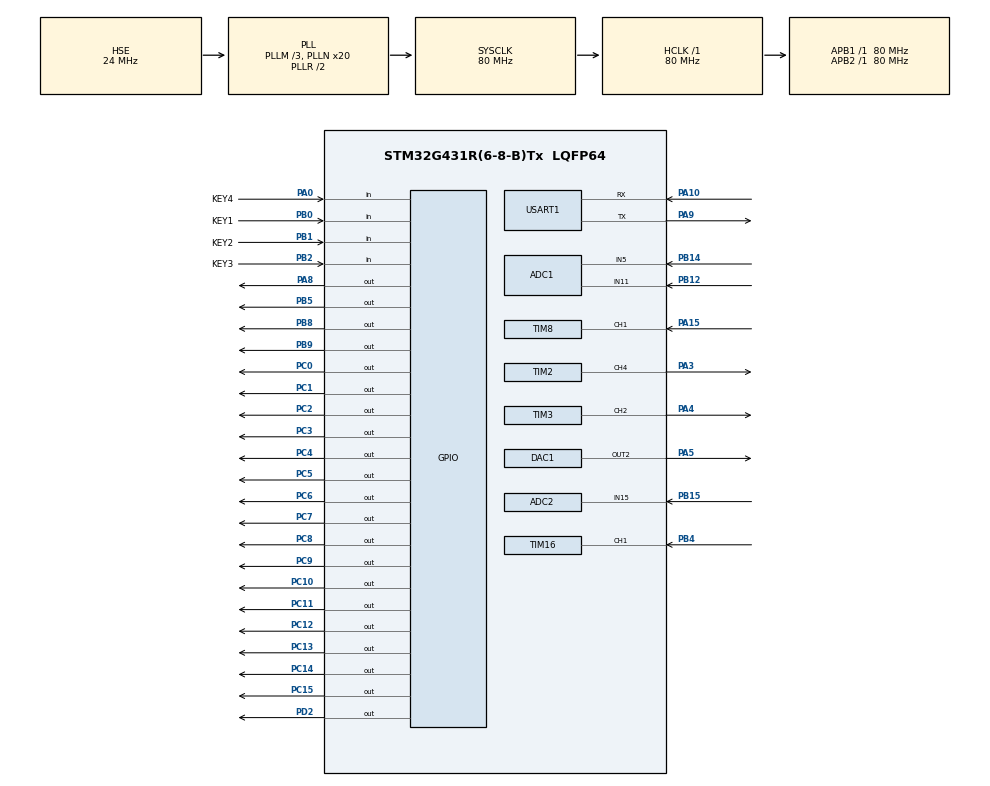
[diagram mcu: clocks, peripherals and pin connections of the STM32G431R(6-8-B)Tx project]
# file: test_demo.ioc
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ADC1.Channel-0\#ChannelRegularConversion=ADC_CHANNEL_5
ADC1.Channel-2\#ChannelRegularConversion=ADC_CHANNEL_11
ADC1.NbrOfConversion=2
ADC1.NbrOfConversionFlag=1
ADC1.OffsetNumber-0\#ChannelRegularConversion=ADC_OFFSET_NONE
ADC1.OffsetNumber-2\#ChannelRegularConversion=ADC_OFFSET_NONE
ADC1.OversamplingMode=DISABLE
ADC1.Rank-0\#ChannelRegularConversion=1
ADC1.Rank-2\#ChannelRegularConversion=2
ADC1.SamplingTime-0\#ChannelRegularConversion=ADC_SAMPLETIME_247CYCLES_5
ADC1.SamplingTime-2\#ChannelRegularConversion=ADC_SAMPLETIME_247CYCLES_5
ADC1.master=1
ADC2.Channel-0\#ChannelRegularConversion=ADC_CHANNEL_15
ADC2.NbrOfConversionFlag=1
ADC2.OffsetNumber-0\#ChannelRegularConversion=ADC_OFFSET_NONE
ADC2.Rank-0\#ChannelRegularConversion=1
ADC2.SamplingTime-0\#ChannelRegularConversion=ADC_SAMPLETIME_24CYCLES_5
DAC1.DAC_Channel-DAC_OUT2=DAC_CHANNEL_2
Mcu.Family=STM32G4
Mcu.Name=STM32G431R(6-8-B)Tx
Mcu.Package=LQFP64
NVIC.PriorityGroup=NVIC_PRIORITYGROUP_4
NVIC.TIM1_UP_TIM16_IRQn=true\:0\:0\:false\:false\:true\:true\:true\:true
NVIC.TIM7_IRQn=true\:0\:0\:false\:false\:true\:true\:true\:true
NVIC.TIM8_CC_IRQn=true\:0\:0\:false\:false\:true\:true\:true\:true
NVIC.USART1_IRQn=true\:0\:0\:false\:false\:true\:true\:true\:true
PA0.GPIO_Label=KEY4
PA0.Signal=GPIO_Input
PA10.Mode=Asynchronous
PA10.Signal=USART1_RX
PA15.Signal=S_TIM8_CH1
PA3.Signal=S_TIM2_CH4
PA4.Signal=S_TIM3_CH2
PA5.Signal=COMP_DAC12_group
PA8.Signal=GPIO_Output
PA9.Mode=Asynchronous
PA9.Signal=USART1_TX
PB0.GPIO_Label=KEY1
PB0.Signal=GPIO_Input
PB1.GPIO_Label=KEY2
PB1.Signal=GPIO_Input
PB12.Mode=IN11-Single-Ended
PB12.Signal=ADC1_IN11
PB14.Mode=IN5-Single-Ended
PB14.Signal=ADC1_IN5
PB15.Mode=IN15-Single-Ended
PB15.Signal=ADC2_IN15
PB2.GPIO_Label=KEY3
PB2.Signal=GPIO_Input
PB4.Signal=S_TIM16_CH1
PB5.Signal=GPIO_Output
PB8-BOOT0.Signal=GPIO_Output
PB9.Signal=GPIO_Output
PC0.Signal=GPIO_Output
PC1.Signal=GPIO_Output
PC10.Signal=GPIO_Output
PC11.Signal=GPIO_Output
PC12.Signal=GPIO_Output
PC13.Signal=GPIO_Output
PC14-OSC32_IN.Signal=GPIO_Output
PC15-OSC32_OUT.Signal=GPIO_Output
PC2.Signal=GPIO_Output
PC3.Signal=GPIO_Output
PC4.Signal=GPIO_Output
PC5.Signal=GPIO_Output
PC6.Signal=GPIO_Output
PC7.Signal=GPIO_Output
PC8.Signal=GPIO_Output
PC9.Signal=GPIO_Output
PD2.Signal=GPIO_Output
PF0-OSC_IN.Mode=HSE-External-Oscillator
PF0-OSC_IN.Signal=RCC_OSC_IN
PF1-OSC_OUT.Mode=HSE-External-Oscillator
PF1-OSC_OUT.Signal=RCC_OSC_OUT
ProjectManager.HeapSize=0x200
ProjectManager.StackSize=0x400
ProjectManager.TargetToolchain=MDK-ARM V5
RCC.ADC12Freq_Value=80000000
RCC.AHBFreq_Value=80000000
RCC.APB1Freq_Value=80000000
RCC.APB1TimFreq_Value=80000000
RCC.APB2Freq_Value=80000000
RCC.APB2TimFreq_Value=80000000
RCC.CortexFreq_Value=80000000
RCC.EXTERNAL_CLOCK_VALUE=12288000
RCC.HCLKFreq_Value=80000000
RCC.HSE_VALUE=24000000
RCC.HSI48_VALUE=48000000
RCC.HSI_VALUE=16000000
RCC.LSE_VALUE=32768
RCC.PLLM=RCC_PLLM_DIV3
RCC.PLLN=20
RCC.PLLSourceVirtual=RCC_PLLSOURCE_HSE
RCC.SYSCLKFreq_VALUE=80000000
RCC.SYSCLKSource=RCC_SYSCLKSOURCE_PLLCLK
RCC.USBFreq_Value=80000000
RCC.VCOOutputFreq_Value=160000000
RTC.AsynchPrediv=31
RTC.Date=24
RTC.Hours=11
RTC.Minutes=59
RTC.Month=RTC_MONTH_DECEMBER
RTC.Seconds=55
RTC.SynchPrediv=999
RTC.Year=23
SH.COMP_DAC12_group.0=DAC1_OUT2,DAC_OUT2
SH.S_TIM16_CH1.0=TIM16_CH1,Input_Capture1_from_TI1
SH.S_TIM2_CH4.0=TIM2_CH4,PWM Generation4 CH4
SH.S_TIM3_CH2.0=TIM3_CH2,PWM Generation2 CH2
SH.S_TIM8_CH1.0=TIM8_CH1,Input_Capture1_from_TI1
TIM16.Channel=TIM_CHANNEL_1
TIM16.Prescaler=79
TIM2.AutoReloadPreload=TIM_AUTORELOAD_PRELOAD_ENABLE
TIM2.Channel-PWM\ Generation4\ CH4=TIM_CHANNEL_4
TIM2.PeriodNoDither=1000-1
TIM2.Prescaler=79
TIM2.PulseNoDither_4=500
TIM3.AutoReloadPreload=TIM_AUTORELOAD_PRELOAD_ENABLE
TIM3.Channel-PWM\ Generation2\ CH2=TIM_CHANNEL_2
TIM3.PeriodNoDither=500-1
TIM3.Prescaler=79
TIM3.PulseNoDither_2=250
TIM7.Prescaler=79
TIM8.Channel-Input_Capture1_from_TI1=TIM_CHANNEL_1
TIM8.Prescaler=79
USART1.VirtualMode-Asynchronous=VM_ASYNC
VP_RTC_VS_RTC_Activate.Mode=RTC_Enabled
VP_RTC_VS_RTC_Calendar.Mode=RTC_Calendar
VP_SYS_VS_DBSignals.Mode=DisableDeadBatterySignals
VP_TIM16_VS_ClockSourceINT.Mode=Enable_Timer
VP_TIM2_VS_ClockSourceINT.Mode=Internal
VP_TIM3_VS_ClockSourceINT.Mode=Internal
VP_TIM7_VS_ClockSourceINT.Mode=Enable_Timer
VP_TIM8_VS_ClockSourceINT.Mode=Internal
board=custom

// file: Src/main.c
/* USER CODE BEGIN Header */
/**
 ******************************************************************************
 * @file           : main.c
 * @brief          : Main program body
 ******************************************************************************
 * @attention
 *
 * <h2><center>&copy; Copyright (c) 2021 STMicroelectronics.
 * All rights reserved.</center></h2>
 *
 * This software component is licensed by ST under BSD 3-Clause license,
 * the "License"; You may not use this file except in compliance with the
 * License. You may obtain a copy of the License at:
 *                        opensource.org/licenses/BSD-3-Clause
 *
 ******************************************************************************
 */
/* USER CODE END Header */
#include "main.h"
#include "adc.h"
#include "dac.h"
#include "rtc.h"
#include "tim.h"
#include "usart.h"
#include "gpio.h"

/* USER CODE BEGIN Includes */
#include "stdio.h"
#include "string.h"
#include "i2c_hal.h"
/* USER CODE END Includes */

/* USER CODE BEGIN PM */
void LED_Disp(u8 dsLED);
void KEY_read(void);
void LED_proc(void);
void KEY_proc(void);
void Rx_proc(void);
void LCD_proc(void);
void RTC_proc(void);
void PWM_proc(void);
void DAC_proc(void);
/* USER CODE END PM */

/* USER CODE BEGIN PV */
// PWM frq duty
u32 pwm_tick = 0;
u32 pa3_frq = 1000;
u32 pa4_frq = 2000;
u8 pa3_duty = 50;
u8 pa4_duty = 50;
// Frequency Capture
extern uint32_t tim16_ch1_frq;
extern u8 tim16_ch1_duty;
extern uint32_t tim2_ch1_frq;
extern u8 tim2_ch1_duty;
// ADC value
extern float adc2_volat;
extern float adc1_volat;
extern float mcp_volat;
u8 mcp_num = 0;
// DAC value
u32 dac_tick = 0;
u32 dac_value = 0;
// UART buff
u8 rx_buff[30];
u8 rx_data;
u8 rx_pointer = 0;
u32 rx_tick = 0;
// LED status
u8 led_cnt = 0;
u32 led_tick = 0;
u32 led_num = 0;
u8 led_cnt1 = 0x01;
u8 led_cnt2 = 0x80;
// KEY status
u8 key_pwm_status = 1;
u8 key_dac_status = 1;
typedef struct
{
    u8 value, last, down, up;
    u8 down_flag;
    _Bool shot_flag;
    _Bool long_flag;
} KEY;
KEY key;
// EEPROM reset count
u8 reset_cnt = 0;
u8 reset_last = 0;
// RTC time
u32 rtc_tick = 0;
RTC_DateTypeDef D;
RTC_TimeTypeDef T;
RTC_TimeTypeDef T_start;

// LCD buff
#define frq_ui 1
#define adc_ui 2
#define pwm_ui 3
#define dac_ui 4
_Bool lcd_mode = 0;
u8 lcd_buff[30];
u8 ui = 0;
u32 lcd_tick = 0;
void LCD_proc()
{
    if (uwTick - lcd_tick < 100)
        return;
    lcd_tick = uwTick;
    // LCD_Clear(Black);

    memset(lcd_buff, 0, sizeof(lcd_buff));
    if (ui == frq_ui)
    {
        sprintf((char *)lcd_buff, "      FRQ TEST     ");
        LCD_DisplayStringLine(Line0, lcd_buff);

        sprintf((char *)lcd_buff, "   R39_F:%-5dHz     ", tim16_ch1_frq);
        LCD_DisplayStringLine(Line2, lcd_buff);
        sprintf((char *)lcd_buff, "   R39_D:%d %%     ", tim16_ch1_duty);
        LCD_DisplayStringLine(Line3, lcd_buff);

        sprintf((char *)lcd_buff, "   R40_F:%-5dHz     ", tim2_ch1_frq);
        LCD_DisplayStringLine(Line5, lcd_buff);
        sprintf((char *)lcd_buff, "   R40_D:%d %%     ", tim2_ch1_duty);
        LCD_DisplayStringLine(Line6, lcd_buff);
    }
    else if (ui == adc_ui)
    {
        sprintf((char *)lcd_buff, "      ADC TEST     ");
        LCD_DisplayStringLine(Line0, lcd_buff);
        sprintf((char *)lcd_buff, "   R37_V:%.2f V     ", adc2_volat);
        LCD_DisplayStringLine(Line2, lcd_buff);
        sprintf((char *)lcd_buff, "   R38_V:%.2f V     ", adc1_volat);
        LCD_DisplayStringLine(Line3, lcd_buff);
        sprintf((char *)lcd_buff, "   MCP_V:%.2f V     ", mcp_volat);
        LCD_DisplayStringLine(Line4, lcd_buff);
        LCD_SetTextColor(Green);
        sprintf((char *)lcd_buff, "   MCP_Num:%d       ", mcp_num);
        LCD_DisplayStringLine(Line6, lcd_buff);
        LCD_SetTextColor(White);
    }
    else if (ui == pwm_ui)
    {
        sprintf((char *)lcd_buff, "      PWM TEST     ");
        LCD_DisplayStringLine(Line0, lcd_buff);
        if (key_pwm_status == 1)
            LCD_SetBackColor(Green);
        sprintf((char *)lcd_buff, "   PA3_F:%-5dHz        ", pa3_frq);
        LCD_DisplayStringLine(Line2, lcd_buff);
        LCD_SetBackColor(Black);
        if (key_pwm_status == 2)
            LCD_SetBackColor(Green);
        sprintf((char *)lcd_buff, "   PA3_D:%-3d%%        ", pa3_duty);
        LCD_DisplayStringLine(Line3, lcd_buff);
        LCD_SetBackColor(Black);
        if (key_pwm_status == 3)
            LCD_SetBackColor(Green);
        sprintf((char *)lcd_buff, "   PA4_F:%-5dHz        ", pa4_frq);
        LCD_DisplayStringLine(Line5, lcd_buff);
        LCD_SetBackColor(Black);
        if (key_pwm_status == 4)
            LCD_SetBackColor(Green);
        sprintf((char *)lcd_buff, "   PA4_D:%-3d%%        ", pa4_duty);
        LCD_DisplayStringLine(Line6, lcd_buff);
        LCD_SetBackColor(Black);
    }
    else if (ui == dac_ui)
    {

        sprintf((char *)lcd_buff, "      DAC TEST     ");
        LCD_DisplayStringLine(Line0, lcd_buff);
        if (key_dac_status == 1)
            LCD_SetBackColor(Green);
        sprintf((char *)lcd_buff, "   PA5_Num:%-4d       ", dac_value);
        LCD_DisplayStringLine(Line2, lcd_buff);
        LCD_SetBackColor(Black);
        if (key_dac_status == 2)
            LCD_SetBackColor(Green);
        sprintf((char *)lcd_buff, "   RES_Num:%-3d       ", reset_last);
        LCD_DisplayStringLine(Line4, lcd_buff);
        LCD_SetBackColor(Black);
        sprintf((char *)lcd_buff, "   RTC_Num:");
        LCD_DisplayStringLine(Line6, lcd_buff);
        if (key_dac_status == 3)
            LCD_SetBackColor(Green);
        LCD_DisplayChar(Line6, 16 * 9, T_start.Hours / 10 + '0');
        LCD_DisplayChar(Line6, 16 * 8, T_start.Hours % 10 + '0');
        LCD_SetBackColor(Black);
        LCD_DisplayChar(Line6, 16 * 7, '-');
        if (key_dac_status == 4)
            LCD_SetBackColor(Green);
        LCD_DisplayChar(Line6, 16 * 6, T_start.Minutes / 10 + '0');
        LCD_DisplayChar(Line6, 16 * 5, T_start.Minutes % 10 + '0');
        LCD_SetBackColor(Black);
        LCD_DisplayChar(Line6, 16 * 4, '-');
        if (key_dac_status == 5)
            LCD_SetBackColor(Green);
        LCD_DisplayChar(Line6, 16 * 3, T_start.Seconds / 10 + '0');
        LCD_DisplayChar(Line6, 16 * 2, T_start.Seconds % 10 + '0');
        LCD_SetBackColor(Black);
    }
    sprintf((char *)lcd_buff, "      %02d-%02d-%02d     ", T.Hours, T.Minutes, T.Seconds);
    LCD_DisplayStringLine(Line8, lcd_buff);
    sprintf((char *)lcd_buff, "           RESET:%03d", reset_cnt);
    LCD_DisplayStringLine(Line9, lcd_buff);
}
u32 key_long_tick = 0;
u32 key_tick = 0;
void KEY_proc()
{
    if (uwTick - key_tick < 20)
        return;
    key_tick = uwTick;
    KEY_read();
    if (key.down == 3 || key.down == 4)
    {
        key_long_tick = uwTick;
    }
    if (key.value == 3 && uwTick - key_long_tick >= 800)
    {
        if (ui == adc_ui && mcp_num < 127)
        {
            mcp_num += 1;
        }
        else if (ui == dac_ui)
        {
            if (key_dac_status == 2)
                reset_last++;
            else if (key_dac_status == 3 && T_start.Hours < 24)
                T_start.Hours++;
            else if (key_dac_status == 4 && T_start.Minutes < 59)
                T_start.Minutes++;
            else if (key_dac_status == 5 && T_start.Seconds < 59)
                T_start.Seconds++;
            else if (key_dac_status == 1 && dac_value < 4095)
            {
                dac_value += 40;
                if (dac_value > 4095)
                    dac_value = 4095;
            }
        }
    }
    else if (key.value == 4 && uwTick - key_long_tick >= 800)
    {
        if (ui == adc_ui && mcp_num > 0)
        {
            mcp_num -= 1;
        }
        else if (ui == dac_ui)
        {
            if (key_dac_status == 2 && reset_last != 0)
                reset_last--;
            else if (key_dac_status == 3 && T_start.Hours > 0)
                T_start.Hours--;
            else if (key_dac_status == 4 && T_start.Minutes > 0)
                T_start.Minutes--;
            else if (key_dac_status == 5 && T_start.Seconds > 0)
                T_start.Seconds--;
            else if (key_dac_status == 1 && dac_value > 0)
            {
                dac_value -= 40;
                if (dac_value > 4095)
                    dac_value = 0;
            }
        }
    }

    if (key.down == 1)
    {
        key.down_flag = 1;
        led_cnt = 0;
        ui++;
        if (ui == 5)
            ui = 1;
        LCD_Clear(Black);
        if (ui == frq_ui)
        {
            reset_cnt = reset_last;
            EEP_write(0xff, reset_cnt);
        }
    }

    else if (key.down == 2)
    {
        if (ui == frq_ui)
        {
            key.down_flag = 2;
            if (led_cnt != 0x55)
                led_cnt = 0x55;
            else
                led_cnt = 0xaa;
        }
        else if (ui == adc_ui)
        {
            if (mcp_num != 0)
                mcp_num = 0;
            else
                mcp_num = 127;
            EEP_write(0x5e, mcp_num);
            MCP_write(mcp_num);
        }
        else if (ui == pwm_ui)
        {
            key_pwm_status++;
            if (key_pwm_status == 5)
                key_pwm_status = 1;
        }
        else if (ui == dac_ui)
        {
            key_dac_status++;
            if (key_dac_status == 6)
                key_dac_status = 1;
        }
    }
    else if (key.up == 3)
    {
        if (ui == frq_ui)
            key.down_flag = 3;

        if (ui == adc_ui)
        {
            mcp_num += 1;
            if (mcp_num > 255)
                mcp_num = 0;
            EEP_write(0x5e, mcp_num);
            MCP_write(mcp_num);
        }
        else if (ui == pwm_ui)
        {
            if (key_pwm_status == 1 && pa3_frq < 10000)
                pa3_frq += 1000;
            else if (key_pwm_status == 3 && pa4_frq < 10000)
                pa4_frq += 1000;
            else if (key_pwm_status == 2 && pa3_duty < 90)
                pa3_duty += 10;
            else if (key_pwm_status == 4 && pa4_duty < 90)
                pa4_duty += 10;
        }
        else if (ui == dac_ui)
        {
            if (key_dac_status == 2)
                reset_last++;
            else if (key_dac_status == 3 && T_start.Hours < 23)
            {
                T_start.Hours++;
                EEP_write(0x10, T_start.Hours);
            }
            else if (key_dac_status == 4 && T_start.Minutes < 59)
            {
                T_start.Minutes++;
                EEP_write(0x20, T_start.Minutes);
            }
            else if (key_dac_status == 5 && T_start.Seconds < 59)
            {
                T_start.Seconds++;
                EEP_write(0x30, T_start.Seconds);
            }
            else if (key_dac_status == 1 && dac_value < 4095)
            {
                dac_value += 40;
                if (dac_value > 4095)
                    dac_value = 4095;
                EEP_write(0x40, dac_value >> 8);
                EEP_write(0x50, dac_value);
            }
        }
    }
    else if (key.up == 4)
    {
        if (ui == frq_ui)
            key.down_flag = 4;
        if (ui == adc_ui)
        {
            mcp_num -= 1;
            if (mcp_num > 127)
                mcp_num = 127;
            EEP_write(0x5e, mcp_num);
            MCP_write(mcp_num);
        }
        else if (ui == pwm_ui)
        {
            if (key_pwm_status == 1 && pa3_frq > 1000)
                pa3_frq -= 1000;
            else if (key_pwm_status == 3 && pa4_frq > 1000)
                pa4_frq -= 1000;
            else if (key_pwm_status == 2 && pa3_duty > 10)
                pa3_duty -= 10;
            else if (key_pwm_status == 4 && pa4_duty > 10)
                pa4_duty -= 10;
        }
        else if (ui == dac_ui)
        {
            if (key_dac_status == 2 && reset_last != 0)
			{
                reset_last--;

			}
            else if (key_dac_status == 3 && T_start.Hours > 0)
            {
                T_start.Hours--;
                EEP_write(0x10, T_start.Hours);
            }
            else if (key_dac_status == 4 && T_start.Minutes > 0)
            {
                T_start.Minutes--;
                EEP_write(0x20, T_start.Minutes);
            }
            else if (key_dac_status == 5 && T_start.Seconds > 0)
            {
                T_start.Seconds--;
                EEP_write(0x30, T_start.Seconds);
            }
            else if (key_dac_status == 1 && dac_value > 0)
            {
                dac_value -= 40;
                if (dac_value > 4095)
                    dac_value = 0;
                EEP_write(0x40, dac_value >> 8);
                EEP_write(0x50, dac_value);
            }
        }
    }
}

/* USER CODE END PV */

void SystemClock_Config(void);

int main(void)
{

    /* MCU Configuration--------------------------------------------------------*/

    /* Reset of all peripherals, Initializes the Flash interface and the Systick. */
    HAL_Init();

    /* Configure the system clock */
    SystemClock_Config();

    /* Initialize all configured peripherals */
    MX_GPIO_Init();
    MX_ADC1_Init();
    MX_ADC2_Init();
    MX_RTC_Init();
    MX_TIM2_Init();
    MX_TIM16_Init();
    MX_USART1_UART_Init();
    MX_TIM3_Init();
    MX_TIM7_Init();
    MX_TIM8_Init();
    MX_DAC1_Init();
    /* USER CODE BEGIN 2 */

    LCD_Init();
    I2CInit();
    HAL_UART_Receive_IT(&huart1, &rx_data, 1);
    HAL_TIM_Base_Start_IT(&htim7);
    HAL_TIM_IC_Start_IT(&htim16, TIM_CHANNEL_1);
    HAL_TIM_IC_Start_IT(&htim8, TIM_CHANNEL_1);
    HAL_TIM_PWM_Start(&htim2, TIM_CHANNEL_4);
    HAL_TIM_PWM_Start(&htim3, TIM_CHANNEL_2);
    /* USER CODE END 2 */

    /* Infinite loop */
    /* USER CODE BEGIN WHILE */

    LCD_Clear(Blue);
    reset_cnt = EEP_read(0xff) + 1 ;
    if (reset_cnt != 0)
    {
        mcp_num = EEP_read(0x5e);
		if(mcp_num > 127)
			mcp_num = 0;
        T_start.Hours = EEP_read(0x10);
        T_start.Minutes = EEP_read(0x20);
        T_start.Seconds = EEP_read(0x30);
        if (!(T_start.Hours < 24 && T_start.Minutes < 60 && T_start.Seconds < 60))
        {
            T_start.Hours = 12;
            T_start.Minutes = 59;
            T_start.Seconds = 55;
        }
        HAL_RTC_SetTime(&hrtc, &T_start, RTC_FORMAT_BIN);
        dac_value = EEP_read(0x40) << 8 | EEP_read(0x50);
        if (dac_value > 4095)
            dac_value = 0;
    }
    reset_last = reset_cnt;
    EEP_write(0xff, reset_cnt);
	MCP_write(mcp_num);
    // hrtc.sTime.Hours = 0x11;
    // sTime.Minutes = 0x59;
    // sTime.Seconds = 0x55;
    printf("Hello World\r\n");
    printf("你好，世界\r\n");

    LCD_SetBackColor(White);
    LCD_DisplayStringLine(Line0, (unsigned char *)"                    ");
    LCD_SetBackColor(Black);
    LCD_DisplayStringLine(Line1, (unsigned char *)"                    ");
    LCD_SetBackColor(Grey);
    LCD_DisplayStringLine(Line2, (unsigned char *)"                    ");
    LCD_SetBackColor(Blue);
    LCD_DisplayStringLine(Line3, (unsigned char *)"                    ");
    LCD_SetBackColor(Blue2);
    LCD_DisplayStringLine(Line4, (unsigned char *)"                    ");
    LCD_SetBackColor(Red);
    LCD_DisplayStringLine(Line5, (unsigned char *)"                    ");
    LCD_SetBackColor(Magenta);
    LCD_DisplayStringLine(Line6, (unsigned char *)"                    ");
    LCD_SetBackColor(Green);
    LCD_DisplayStringLine(Line7, (unsigned char *)"                    ");
    LCD_SetBackColor(Cyan);
    LCD_DisplayStringLine(Line8, (unsigned char *)"                    ");
    LCD_SetBackColor(Yellow);
    LCD_DisplayStringLine(Line9, (unsigned char *)"                    ");
    HAL_Delay(1000);
    ui = 1;
    LCD_SetBackColor(Black);
    LCD_SetTextColor(White);
    LCD_Clear(Black);
    while (1)
    {
        KEY_proc();
        LED_proc();
        Rx_proc();
        LCD_proc();
        PWM_proc();
        RTC_proc();
        DAC_proc();
        // ADC_proc(); // 这里在tim.c里面有这个函数，但是我放到定时器里面可以学习定时的使用方法
        /* USER CODE END WHILE */

    }
}

void SystemClock_Config(void)
{
    RCC_OscInitTypeDef RCC_OscInitStruct = {0};
    RCC_ClkInitTypeDef RCC_ClkInitStruct = {0};

    /** Configure the main internal regulator output voltage
     */
    HAL_PWREx_ControlVoltageScaling(PWR_REGULATOR_VOLTAGE_SCALE1);

    /** Initializes the RCC Oscillators according to the specified parameters
     * in the RCC_OscInitTypeDef structure.
     */
    RCC_OscInitStruct.OscillatorType = RCC_OSCILLATORTYPE_LSI | RCC_OSCILLATORTYPE_HSE;
    RCC_OscInitStruct.HSEState = RCC_HSE_ON;
    RCC_OscInitStruct.LSIState = RCC_LSI_ON;
    RCC_OscInitStruct.PLL.PLLState = RCC_PLL_ON;
    RCC_OscInitStruct.PLL.PLLSource = RCC_PLLSOURCE_HSE;
    RCC_OscInitStruct.PLL.PLLM = RCC_PLLM_DIV3;
    RCC_OscInitStruct.PLL.PLLN = 20;
    RCC_OscInitStruct.PLL.PLLP = RCC_PLLP_DIV2;
    RCC_OscInitStruct.PLL.PLLQ = RCC_PLLQ_DIV2;
    RCC_OscInitStruct.PLL.PLLR = RCC_PLLR_DIV2;
    if (HAL_RCC_OscConfig(&RCC_OscInitStruct) != HAL_OK)
    {
        Error_Handler();
    }

    /** Initializes the CPU, AHB and APB buses clocks
     */
    RCC_ClkInitStruct.ClockType = RCC_CLOCKTYPE_HCLK | RCC_CLOCKTYPE_SYSCLK | RCC_CLOCKTYPE_PCLK1 | RCC_CLOCKTYPE_PCLK2;
    RCC_ClkInitStruct.SYSCLKSource = RCC_SYSCLKSOURCE_PLLCLK;
    RCC_ClkInitStruct.AHBCLKDivider = RCC_SYSCLK_DIV1;
    RCC_ClkInitStruct.APB1CLKDivider = RCC_HCLK_DIV1;
    RCC_ClkInitStruct.APB2CLKDivider = RCC_HCLK_DIV1;

    if (HAL_RCC_ClockConfig(&RCC_ClkInitStruct, FLASH_LATENCY_2) != HAL_OK)
    {
        Error_Handler();
    }
}

/* USER CODE BEGIN 4 */

void DAC_proc()
{
    if (uwTick - dac_tick < 100)
        return;
    dac_tick = uwTick;
    HAL_DAC_SetValue(&hdac1, DAC_CHANNEL_2, DAC_ALIGN_12B_R, dac_value);
    HAL_DAC_Start(&hdac1, DAC_CHANNEL_2);
}
void PWM_proc()
{
    if (uwTick - pwm_tick < 100)
        return;
    TIM2->ARR = 1e6 / pa3_frq - 1;
    TIM2->CCR4 = (TIM2->ARR + 1) * pa3_duty / 100;
    TIM3->ARR = 1e6 / pa4_frq - 1;
    TIM3->CCR2 = (TIM3->ARR + 1) * pa4_duty / 100;
}
void RTC_proc()
{
    if (uwTick - rtc_tick < 500)
        return;
    rtc_tick = uwTick;
    HAL_RTC_GetTime(&hrtc, &T, RTC_FORMAT_BIN);
    HAL_RTC_GetDate(&hrtc, &D, RTC_FORMAT_BIN);
}
void LED_proc()
{
    if (uwTick - led_tick < 100)
        return;
    led_tick = uwTick;
    if (key.down_flag == 3)
    {
        led_cnt = led_cnt1;
        led_cnt1 = led_cnt1 << 1;
        if (led_cnt1 == 0)
            led_cnt1 = 0x01;
    }
    else if (key.down_flag == 4)
    {
        led_cnt = led_cnt2;
        led_cnt2 = led_cnt2 >> 1;
        if (led_cnt2 == 0)
            led_cnt2 = 0x80;
    }
    LED_Disp(led_cnt);
}

void Rx_proc()
{
    if (uwTick - rx_tick < 50)
        return;
    rx_tick = uwTick;
    if (rx_pointer == 1 && rx_buff[0] == '#')
    {
        lcd_mode = !lcd_mode;
        if (lcd_mode == 0)
        {
            LCD_WriteReg(R1, 0x0000);
            LCD_WriteReg(R96, 0x2700);
            LCD_Clear(Black);
        }
        else
        {
            LCD_WriteReg(R1, 0x0100);
            LCD_WriteReg(R96, 0xA700);
            LCD_Clear(Black);
        }
        printf("成功翻转屏幕\r\n");
    }
    else if (rx_pointer > 0)
    {
        printf("%s\r\n", rx_buff);
        printf("发送#字符翻转屏幕\r\n");
    }
    rx_pointer = 0;
    memset(rx_buff, '\0', sizeof(rx_buff));
}
void LED_Disp(u8 dsLED)
{
    HAL_GPIO_WritePin(GPIOC, GPIO_PIN_All, GPIO_PIN_SET);
    HAL_GPIO_WritePin(GPIOC, dsLED << 8, GPIO_PIN_RESET);
    HAL_GPIO_WritePin(GPIOD, GPIO_PIN_2, GPIO_PIN_SET);
    HAL_GPIO_WritePin(GPIOD, GPIO_PIN_2, GPIO_PIN_RESET);
}
void KEY_read()
{
    if (HAL_GPIO_ReadPin(KEY1_GPIO_Port, KEY1_Pin) == 0)
        key.value = 1;
    else if (HAL_GPIO_ReadPin(KEY2_GPIO_Port, KEY2_Pin) == 0)
        key.value = 2;
    else if (HAL_GPIO_ReadPin(KEY3_GPIO_Port, KEY3_Pin) == 0)
        key.value = 3;
    else if (HAL_GPIO_ReadPin(KEY4_GPIO_Port, KEY4_Pin) == 0)
        key.value = 4;
    else
        key.value = 0;
    key.down = key.value & (key.value ^ key.last);
    key.up = ~key.value & (key.value ^ key.last);
    key.last = key.value;
}
/* USER CODE END 4 */

void Error_Handler(void)
{
}
